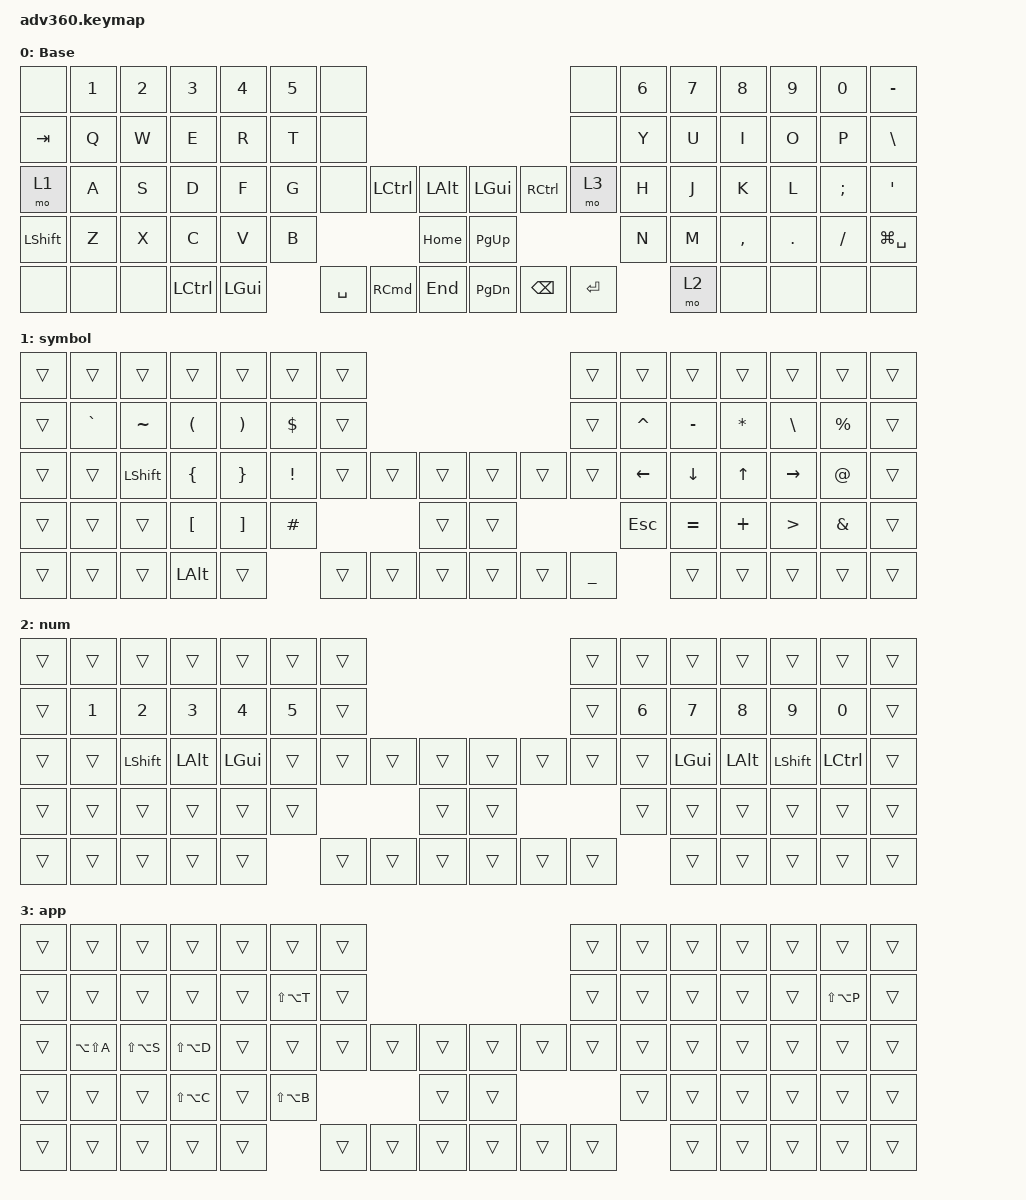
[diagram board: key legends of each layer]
#include <dt-bindings/zmk/stp.h>
#include <behaviors.dtsi>
#include <dt-bindings/zmk/keys.h>

/ {
    behaviors {
        #include "macros.dtsi"
      #include "version.dtsi"

        hm: homerow_mods {
            compatible = "zmk,behavior-hold-tap";
            label = "HOMEROW_MODS";
            #binding-cells = <2>;
            tapping-term-ms = <200>;
            quick_tap_ms = <175>;
            flavor = "tap-preferred";
            bindings = <&kp>, <&kp>;
        };
    };

    keymap {
        compatible = "zmk,keymap";

        default_layer {
            display-name = "Base";
            bindings = <
&none      &kp N1  &kp N2  &kp N3            &kp N4        &kp N5  &none                                                                 &none      &kp N6  &kp N7  &kp N8     &kp N9   &kp N0    &kp MINUS
&kp TAB    &kp Q   &kp W   &kp E             &kp R         &kp T   &none                                                                 &none      &kp Y   &kp U   &kp I      &kp O    &kp P     &kp BSLH
&mo 1      &kp A   &kp S   &kp D             &kp F         &kp G   &none      &kp LCTRL          &kp LALT      &kp LGUI   &kp RCTRL      &mo 3      &kp H   &kp J   &kp K      &kp L    &kp SEMI  &kp SQT
&kp LSHFT  &kp Z   &kp X   &kp C             &kp V         &kp B                                 &kp HOME      &kp PG_UP                            &kp N   &kp M   &kp COMMA  &kp DOT  &kp FSLH  &kp LG(SPACE)
&none      &none   &none   &kp LEFT_CONTROL  &kp LEFT_GUI          &kp SPACE  &kp RIGHT_COMMAND  &kp END       &kp PG_DN  &kp BACKSPACE  &kp ENTER          &mo 2   &none      &none    &none     &none
            >;
        };

        symbol {
            bindings = <
&trans  &trans     &trans     &trans                &trans                 &trans           &trans                                      &trans          &trans          &trans          &trans        &trans            &trans         &trans
&trans  &kp GRAVE  &kp TILDE  &kp LEFT_PARENTHESIS  &kp RIGHT_PARENTHESIS  &kp DOLLAR       &trans                                      &trans          &kp CARET       &kp MINUS       &kp ASTERISK  &kp BACKSLASH     &kp PERCENT    &trans
&trans  &trans     &kp LSHFT  &kp LEFT_BRACE        &kp RIGHT_BRACE        &kp EXCLAMATION  &trans  &trans  &trans      &trans  &trans  &trans          &kp LEFT_ARROW  &kp DOWN_ARROW  &kp UP_ARROW  &kp RIGHT_ARROW   &kp AT_SIGN    &trans
&trans  &trans     &trans     &kp LEFT_BRACKET      &kp RIGHT_BRACKET      &kp HASH                         &trans      &trans                          &kp ESC         &kp EQUAL       &kp PLUS      &kp GREATER_THAN  &kp AMPERSAND  &trans
&trans  &trans     &trans     &kp LEFT_ALT          &trans                                  &trans  &trans  &trans      &trans  &trans  &kp UNDERSCORE                  &trans          &trans        &trans            &trans         &trans
            >;
        };

        num {
            bindings = <
&trans  &trans        &trans     &trans    &trans    &trans  &trans                                      &trans  &trans  &trans    &trans    &trans     &trans     &trans
&trans  &kp NUMBER_1  &kp N2     &kp N3    &kp N4    &kp N5  &trans                                      &trans  &kp N6  &kp N7    &kp N8    &kp N9     &kp N0     &trans
&trans  &trans        &kp LSHFT  &kp LALT  &kp LGUI  &trans  &trans  &trans  &trans      &trans  &trans  &trans  &trans  &kp LGUI  &kp LALT  &kp LSHFT  &kp LCTRL  &trans
&trans  &trans        &trans     &trans    &trans    &trans                  &trans      &trans                  &trans  &trans    &trans    &trans     &trans     &trans
&trans  &trans        &trans     &trans    &trans            &trans  &trans  &trans      &trans  &trans  &trans          &trans    &trans    &trans     &trans     &trans
            >;
        };

        app {
            bindings = <
&trans  &trans         &trans         &trans         &trans  &trans         &trans                                      &trans  &trans  &trans  &trans  &trans  &trans         &trans
&trans  &trans         &trans         &trans         &trans  &kp LS(LA(T))  &trans                                      &trans  &trans  &trans  &trans  &trans  &kp LS(LA(P))  &trans
&trans  &kp LA(LS(A))  &kp LS(LA(S))  &kp LS(LA(D))  &trans  &trans         &trans  &trans  &trans      &trans  &trans  &trans  &trans  &trans  &trans  &trans  &trans         &trans
&trans  &trans         &trans         &kp LS(LA(C))  &trans  &kp LS(LA(B))                  &trans      &trans                  &trans  &trans  &trans  &trans  &trans         &trans
&trans  &trans         &trans         &trans         &trans                 &trans  &trans  &trans      &trans  &trans  &trans          &trans  &trans  &trans  &trans         &trans
            >;
        };
    };
};
